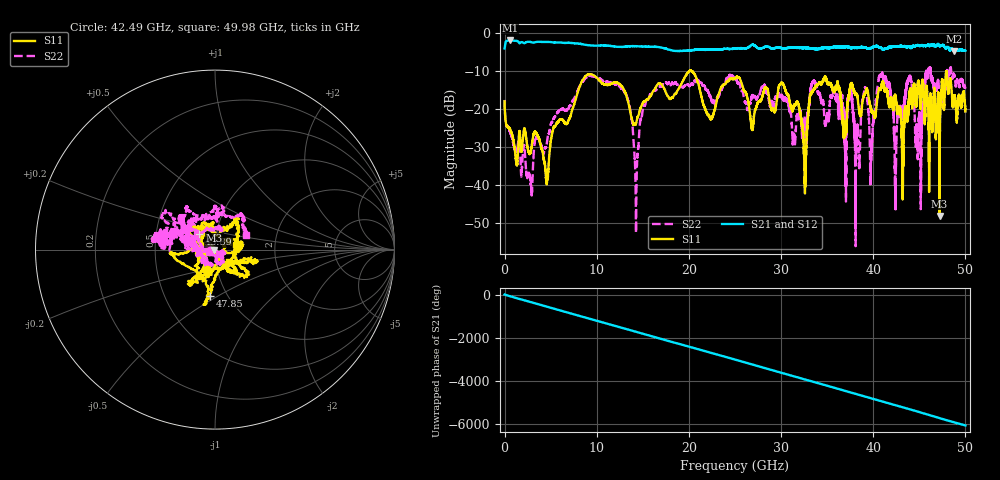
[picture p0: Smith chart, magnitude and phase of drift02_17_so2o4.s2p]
!Created with skrf (http://scikit-rf.org).
# Hz S RI R 50.0
!freq ReS11 ImS11 ReS21 ImS21 ReS12 ImS12 ReS22 ImS22
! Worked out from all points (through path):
!   10001 points, 300 kHz to 50 GHz, reference 50 ohm
!   highest |S21| = -1.99 dB at 585.3 MHz (marker M1); lowest = -4.9 dB at 48.77 GHz (marker M2)
!   group delay of S21, straight-line fit = 337 ps
!   lowest |S11| = -48.2 dB at 47.2 GHz (marker M3), VSWR 1.01, Z = 49.7 - j0.194 ohm
!   |S11| at or under -10 dB: start of sweep to 20.06 GHz; 20.20806 GHz to 20.21993 GHz (11.87 MHz wide, 0.0587 % of centre); 20.24 GHz to end of sweep (the widest 3 of 4)
!   |S22| runs from -56.2 to -8.9 dB; largest |S21 - S12| = 0.03
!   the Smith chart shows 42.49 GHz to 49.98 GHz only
!   S11 on the Smith chart (normalised r, x): 42.49 GHz: 0.89, -0.21; 43.89 GHz: 0.83, +0.15; 47.85 GHz: 0.83, -0.46; 49.98 GHz: 1.15, -0.16
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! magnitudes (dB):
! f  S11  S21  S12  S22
! 300 kHz  -18.0  -4.1  -4.0  -17.7
! 585.3 MHz  -25.3  -2.0  -2.0  -26.0
! 4.565 GHz  -39.9  -2.4  -2.4  -29.4
! 8.335 GHz  -13.0  -2.9  -2.9  -13.2
! 13.01 GHz  -15.3  -3.6  -3.7  -15.6
! 14.28 GHz  -23.7  -3.5  -3.5  -48.4
! 16.67 GHz  -13.4  -3.7  -3.7  -14.5
! 25 GHz  -12.1  -4.1  -4.1  -12.1
! 30.18 GHz  -13.4  -4.1  -4.1  -16.7
! 32.56 GHz  -39.3  -3.9  -3.9  -24.6
! 33.34 GHz  -15.9  -4.1  -4.1  -13.5
! 38.29 GHz  -16.9  -3.9  -3.9  -24.7
! 41.67 GHz  -18.5  -3.8  -3.9  -13.0
! 42.49 GHz  -18.2  -3.7  -3.6  -31.2
! 43.89 GHz  -18.1  -3.6  -3.6  -11.9
! 44.99 GHz  -14.1  -3.4  -3.3  -21.3
! 45.92 GHz  -18.1  -3.1  -3.1  -11.2
! 47.2 GHz  -48.2  -3.5  -3.5  -17.1
! 47.85 GHz  -11.8  -4.1  -4.1  -13.8
! 48.77 GHz  -16.8  -4.9  -4.8  -11.0
! 49.98 GHz  -19.9  -4.6  -4.6  -14.5
! 50 GHz  -20.7  -4.6  -4.6  -14.7
